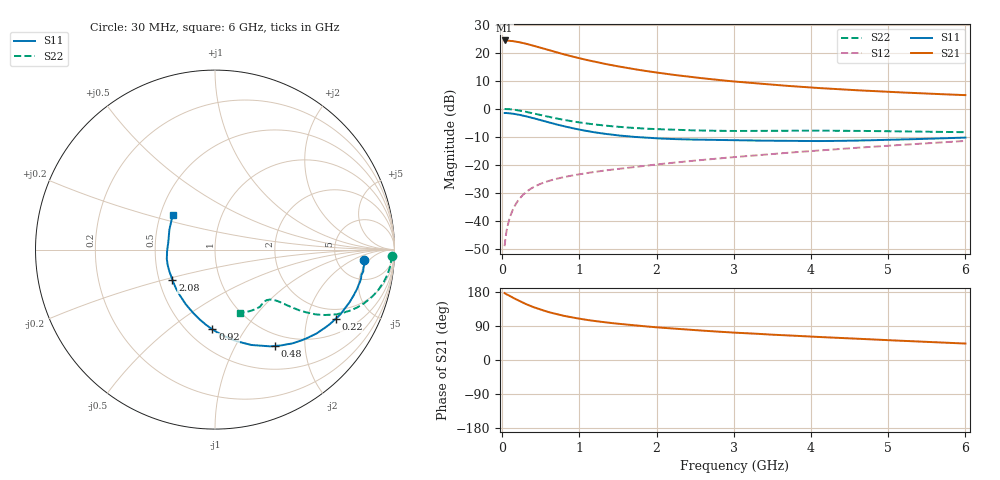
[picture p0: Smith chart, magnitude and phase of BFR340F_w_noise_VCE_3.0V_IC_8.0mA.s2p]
! Infineon Technologies  Discrete & RF Semiconductors
! BFR340F
! VCE =  3.0 V,  IC =  8.0 mA
! Common Emitter S-Parameters:  Nov 2015
# GHz  S  MA  R  50
!  f  S11  S21  S12  S22
! GHz  MAG  ANG  MAG  ANG  MAG  ANG  MAG  ANG
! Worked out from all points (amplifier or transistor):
!   206 points, 30 MHz to 6 GHz, reference 50 ohm
!   highest |S21| = 24.3 dB at 30 MHz (marker M1)
!   |S21| within 3 dB of that: start of sweep to 546.1 MHz
!   unconditionally stable (mu >= 1): 2.412 GHz to 5.379 GHz
!   at 200 MHz: K = 0.17, MSG = 28.4 dB, |S12| = -33.0 dB
!   at 1.56 GHz: K = 0.86, MSG = 18.1 dB, |S12| = -21.3 dB
!   at 6 GHz: K = 0.98, MSG = 8.2 dB, |S12| = -11.5 dB
!   lowest NFmin = 1.52 dB at 1.9 GHz
!   S11 on the Smith chart (normalised r, x): 30 MHz: 10, -4; 220 MHz: 1.56, -3.00; 480 MHz: 0.82, -1.46; 920 MHz: 0.65, -0.72; 2.08 GHz: 0.59, -0.22; 6 GHz: 0.58, +0.25
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0.03  0.8337 -4.1  16.48 176.6  0.0035 89.0  0.9846 -2.0
0.05  0.8332 -6.9  16.34 173.7  0.0059 87.4  0.9832 -3.6
0.07  0.8279 -9.8  16.4 171.7  0.0081 84.9  0.9809 -5.1
0.14  0.8106 -19.4  16.02 164.3  0.0161 80.2  0.961 -10.2
0.22  0.7746 -29.9  15.32 155.9  0.0243 75.1  0.9248 -15.4
0.3  0.7336 -39.6  14.49 148.2  0.0316 71.0  0.8817 -19.9
0.34  0.7103 -44.1  14.02 144.8  0.0349 69.1  0.8582 -21.9
0.4  0.6774 -50.5  13.31 139.8  0.0393 66.8  0.8227 -24.5
0.48  0.6311 -58.3  12.39 134.1  0.0445 64.2  0.777 -27.4
0.6  0.5689 -69.1  11.11 126.3  0.0511 61.3  0.7138 -30.7
0.7  0.5234 -77.0  10.15 121.1  0.0558 59.8  0.6683 -32.7
0.92  0.4445 -91.9  8.439 111.8  0.0644 58.1  0.5893 -35.5
1.04  0.4115 -99.1  7.697 107.7  0.0687 57.9  0.5565 -36.3
1.2  0.3765 -108.1  6.861 102.8  0.0742 57.9  0.5203 -37.3
1.4  0.3455 -118.1  6.025 97.8  0.0807 58.3  0.4866 -38.2
1.7  0.3134 -131.1  5.09 91.5  0.0906 59.3  0.4523 -39.4
2.02  0.294 -142.6  4.368 85.9  0.1014 60.6  0.4294 -40.7
2.08  0.2912 -144.6  4.257 85.0  0.1034 60.8  0.4262 -41.0
3.1  0.2717 -170.9  2.973 71.3  0.1399 63.4  0.3993 -46.9
4.1  0.2634 171.1  2.331 60.8  0.179 64.3  0.4044 -52.5
5.1  0.2793 154.6  1.965 51.4  0.2218 64.0  0.3938 -60.5
6  0.3039 140.7  1.74 43.4  0.2649 62.6  0.3792 -68.7
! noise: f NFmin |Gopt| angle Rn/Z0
1.9  1.52  0.33  4  0.46
